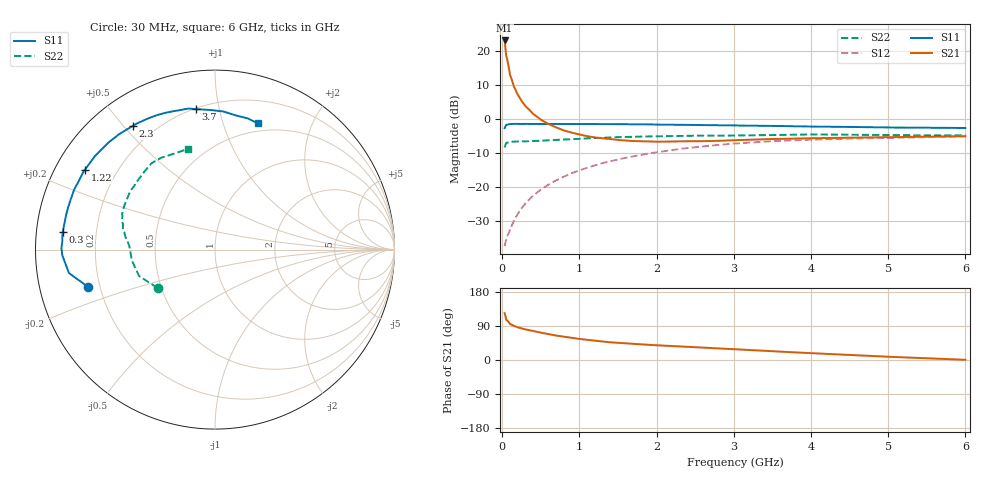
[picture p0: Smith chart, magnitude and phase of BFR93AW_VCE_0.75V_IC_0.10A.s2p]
! Infineon Technologies  Discrete & RF Semiconductors
! BFR93AW
! VCE = 0.75 V,  IC = 0.10 A
! Common Emitter S-Parameters:  Nov 2015
# GHz  S  MA  R  50
!  f  S11  S21  S12  S22
! GHz  MAG  ANG  MAG  ANG  MAG  ANG  MAG  ANG
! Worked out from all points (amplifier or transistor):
!   206 points, 30 MHz to 6 GHz, reference 50 ohm
!   highest |S21| = 23.2 dB at 30 MHz (marker M1)
!   |S21| within 3 dB of that: start of sweep to 44.22 MHz
!   unconditionally stable (mu >= 1): start of sweep to end of sweep
!   at 200 MHz: K = 1.56, MAG = 13.2 dB, |S12| = -27.9 dB
!   at 1.56 GHz: K = 1.28, MAG = -0.5 dB, |S12| = -11.5 dB
!   at 6 GHz: K = 1.06, MAG = -1.4 dB, |S12| = -5.1 dB
!   S11 on the Smith chart (normalised r, x): 30 MHz: 0.15, -0.14; 300 MHz: 0.08, +0.06; 1.22 GHz: 0.09, +0.28; 2.3 GHz: 0.12, +0.53; 3.7 GHz: 0.20, +0.85; 6 GHz: 0.42, +1.31
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0.03  0.7384 -163.7  14.47 123.5  0.0135 46.6  0.3845 -146.2
0.05  0.8242 -170.9  8.698 105.9  0.0167 49.0  0.4479 -160.8
0.075  0.8362 -174.5  6.577 102.1  0.02 54.5  0.4542 -166.1
0.1  0.8514 -177.9  4.513 94.7  0.0235 58.5  0.4642 -171.1
0.15  0.8557 179.5  3.032 89.9  0.0318 64.2  0.4688 -174.8
0.2  0.852 176.9  2.303 86.1  0.0402 67.3  0.4701 -177.1
0.24  0.8533 175.2  1.943 84.0  0.047 69.2  0.4715 -178.3
0.26  0.8537 174.5  1.795 82.8  0.0505 69.9  0.472 -178.8
0.3  0.8541 173.3  1.561 80.7  0.0575 70.7  0.4725 -179.7
0.4  0.8514 170.2  1.198 76.1  0.0745 72.2  0.4765 178.1
0.5  0.8519 167.3  0.984 72.0  0.0918 72.0  0.4824 176.4
0.6  0.8517 164.8  0.848 68.3  0.1092 71.6  0.4878 175.1
0.8  0.8517 159.0  0.683 61.3  0.143 69.2  0.5034 172.2
1.04  0.8497 152.9  0.581 54.7  0.1832 66.2  0.5175 168.8
1.22  0.8508 148.5  0.536 50.6  0.2126 63.5  0.5285 166.3
2.02  0.8352 129.5  0.467 38.6  0.3285 50.9  0.5613 154.5
2.3  0.8274 123.7  0.472 35.8  0.3646 46.5  0.5659 150.2
3.1  0.8065 107.7  0.495 27.5  0.4445 34.3  0.577 138.5
3.7  0.7902 97.7  0.516 21.1  0.4845 25.8  0.589 130.2
4.1  0.7778 91.7  0.527 17.1  0.504 20.7  0.596 125.0
5.1  0.7551 79.9  0.547 7.8  0.5334 10.4  0.5821 114.0
6  0.7426 71.2  0.563 0.5  0.5582 2.8  0.5808 104.9
